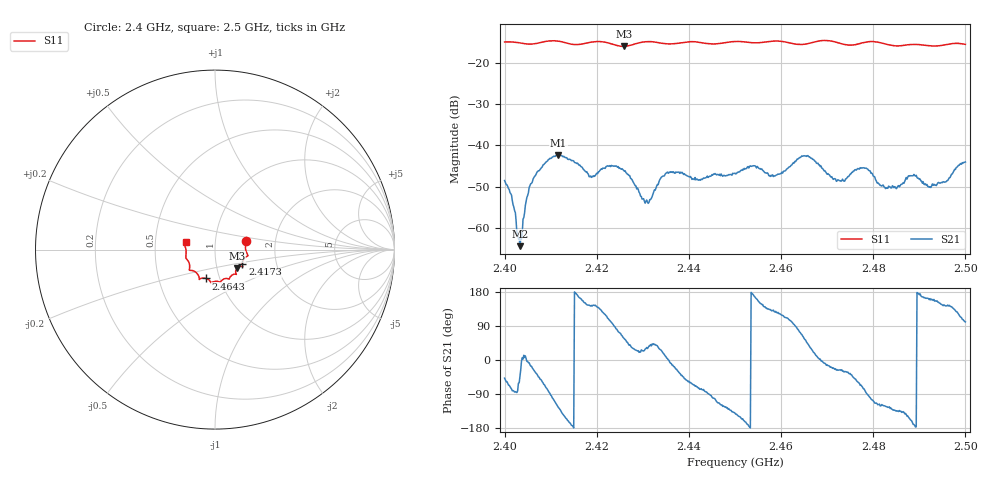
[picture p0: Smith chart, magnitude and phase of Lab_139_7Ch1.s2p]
# Hz S RI R 50
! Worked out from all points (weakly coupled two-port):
!   601 points, 2.4 GHz to 2.5 GHz, reference 50 ohm
!   highest |S21| = -42.30 dB at 2.4117 GHz (marker M1); lowest = -64.5 dB at 2.4033 GHz (marker M2)
!   lowest |S11| = -15.9 dB at 2.4258 GHz (marker M3), VSWR 1.38, Z = 62.2 - j13.2 ohm
!   |S11| at or under -10 dB: start of sweep to end of sweep
!   S12 and S22 are empty: the file has one direction only
!   S11 on the Smith chart (normalised r, x): 2.4 GHz: 1.41, +0.14; 2.4173 GHz: 1.34, -0.23; 2.4643 GHz: 0.86, -0.28; 2.5 GHz: 0.72, +0.06
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2.4e9  0.1735 0.0497  0.0025 -0.00278  0 0  0 0
2.4015e9  0.1756 0.0436  0.000576 -0.00242  0 0  0 0
2.403333e9  0.1729 0.0318  0.00044 -0.000402  0 0  0 0
2.405833e9  0.17 0.00319  0.00331 -0.000978  0 0  0 0
2.411667e9  0.1813 -0.0356  -0.00442 -0.00628  0 0  0 0
2.416667e9  0.1528 -0.0746  -0.00517 0.00184  0 0  0 0
2.417333e9  0.1523 -0.0819  -0.00433 0.0024  0 0  0 0
2.425833e9  0.1214 -0.1037  0.00263 0.00423  0 0  0 0
2.430833e9  0.1191 -0.1379  0.00182 0.00118  0 0  0 0
2.433333e9  0.1128 -0.1369  0.00278 0.00183  0 0  0 0
2.435833e9  0.0955 -0.142  0.00465 -0.000446  0 0  0 0
2.45e9  0.0297 -0.1809  -0.00354 -0.00293  0 0  0 0
2.453833e9  0.0115 -0.1764  -0.0056 0.000593  0 0  0 0
2.458833e9  -0.0211 -0.1843  -0.00268 0.00339  0 0  0 0
2.464333e9  -0.0502 -0.1606  0.0026 0.00677  0 0  0 0
2.466667e9  -0.0763 -0.1599  0.0062 0.0032  0 0  0 0
2.471667e9  -0.0872 -0.1588  0.00359 -0.00164  0 0  0 0
2.478e9  -0.1353 -0.1162  0.0013 -0.00519  0 0  0 0
2.483333e9  -0.1408 -0.0896  -0.00182 -0.00262  0 0  0 0
2.488333e9  -0.1611 -0.0491  -0.00403 -0.00145  0 0  0 0
2.495333e9  -0.1653 0.0136  -0.00298 0.00203  0 0  0 0
2.5e9  -0.1637 0.0422  -0.00114 0.00618  0 0  0 0
